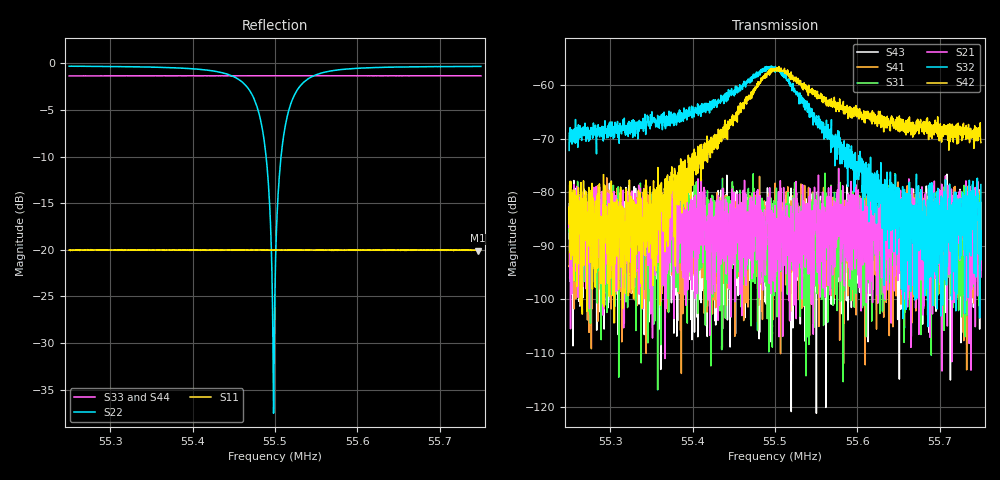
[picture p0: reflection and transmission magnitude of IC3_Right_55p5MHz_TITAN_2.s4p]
#  HZ  S  DB  R  50.00
! Rohde & Schwarz Vector Network Analyzer
! Rohde-Schwarz,ZNB8-4Port,1311601044102961,2.82
! Created: UTC 2/7/2019, 11:26:41 AM
! freq[Hz]  db:S11  ang:S11  db:S12  ang:S12  db:S13  ang:S13  db:S14  ang:S14
!  db:S21  ang:S21  db:S22  ang:S22  db:S23  ang:S23  db:S24  ang:S24
!  db:S31  ang:S31  db:S32  ang:S32  db:S33  ang:S33  db:S34  ang:S34
!  db:S41  ang:S41  db:S42  ang:S42  db:S43  ang:S43  db:S44  ang:S44
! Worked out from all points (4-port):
!   2001 points, 55.25 MHz to 55.75 MHz, reference 50 ohm
!   strongest paths, dB at 55.25 MHz, 55.375 MHz, 55.5 MHz, 55.625 MHz, 55.75 MHz:
!     S42: -82.9, -79.4, -57.0, -66.0, -70.7
!     S32: -72.2, -67.1, -57.2, -81.8, -78.6
!     S21: -84.7, -79.8, -82.5, -90.7, -86.0
!     S31: -86.1, -92.8, -97.8, -82.3, -82.7
!     S41: -93.8, -90.9, -88.8, -93.4, -90.6
!     S43: -82.2, -88.5, -90.0, -83.5, -81.9
!   lowest |S11| = -20.1 dB at 55.746 MHz (marker M1), VSWR 1.22, Z = 60.9 - j1.18 ohm
!   |S11| at or under -10 dB: start of sweep to end of sweep
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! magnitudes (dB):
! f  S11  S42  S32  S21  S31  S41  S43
! 55.25 MHz  -20.0  -82.9  -72.2  -84.7  -86.1  -93.8  -82.2
! 55.466 MHz  -20.0  -62.3  -59.7  -93.6  -86.8  -87.0  -87.0
! 55.4883 MHz  -20.0  -57.9  -57.3  -95.5  -92.4  -87.4  -99.5
! 55.4982 MHz  -20.0  -57.1  -57.0  -84.4  -81.6  -86.9  -97.6
! 55.5305 MHz  -20.0  -59.8  -62.4  -86.1  -103.2  -89.4  -87.7
! 55.746 MHz  -20.1  -69.5  -81.0  -99.3  -96.6  -81.3  -91.0
! 55.75 MHz  -20.0  -70.7  -78.6  -86.0  -82.7  -90.6  -81.9
